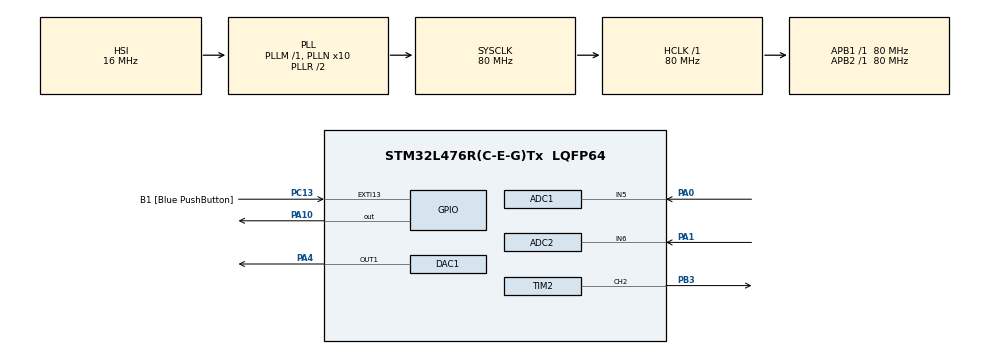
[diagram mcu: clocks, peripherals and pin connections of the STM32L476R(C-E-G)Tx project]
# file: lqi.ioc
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ADC1.Channel-0\#ChannelRegularConversion=ADC_CHANNEL_5
ADC1.ContinuousConvMode=ENABLE
ADC1.DMAContinuousRequests=ENABLE
ADC1.NbrOfConversionFlag=1
ADC1.OffsetNumber-0\#ChannelRegularConversion=ADC_OFFSET_NONE
ADC1.Rank-0\#ChannelRegularConversion=1
ADC1.SamplingTime-0\#ChannelRegularConversion=ADC_SAMPLETIME_92CYCLES_5
ADC1.master=1
ADC2.Channel-0\#ChannelRegularConversion=ADC_CHANNEL_6
ADC2.ContinuousConvMode=ENABLE
ADC2.DMAContinuousRequests=ENABLE
ADC2.NbrOfConversionFlag=1
ADC2.OffsetNumber-0\#ChannelRegularConversion=ADC_OFFSET_NONE
ADC2.Rank-0\#ChannelRegularConversion=1
ADC2.SamplingTime-0\#ChannelRegularConversion=ADC_SAMPLETIME_92CYCLES_5
Dma.ADC1.0.Direction=DMA_PERIPH_TO_MEMORY
Dma.ADC1.0.Instance=DMA1_Channel1
Dma.ADC1.0.MemDataAlignment=DMA_MDATAALIGN_HALFWORD
Dma.ADC1.0.MemInc=DMA_MINC_ENABLE
Dma.ADC1.0.Mode=DMA_CIRCULAR
Dma.ADC1.0.PeriphDataAlignment=DMA_PDATAALIGN_HALFWORD
Dma.ADC1.0.PeriphInc=DMA_PINC_DISABLE
Dma.ADC1.0.Priority=DMA_PRIORITY_LOW
Dma.ADC2.1.Direction=DMA_PERIPH_TO_MEMORY
Dma.ADC2.1.Instance=DMA1_Channel2
Dma.ADC2.1.MemDataAlignment=DMA_MDATAALIGN_HALFWORD
Dma.ADC2.1.MemInc=DMA_MINC_ENABLE
Dma.ADC2.1.Mode=DMA_CIRCULAR
Dma.ADC2.1.PeriphDataAlignment=DMA_PDATAALIGN_HALFWORD
Dma.ADC2.1.PeriphInc=DMA_PINC_DISABLE
Dma.ADC2.1.Priority=DMA_PRIORITY_LOW
Dma.Request0=ADC1
Dma.Request1=ADC2
Mcu.Family=STM32L4
Mcu.Name=STM32L476R(C-E-G)Tx
Mcu.Package=LQFP64
NVIC.DMA1_Channel1_IRQn=true\:0\:0\:false\:false\:true\:false\:true
NVIC.DMA1_Channel2_IRQn=true\:0\:0\:false\:false\:true\:false\:true
NVIC.PriorityGroup=NVIC_PRIORITYGROUP_4
NVIC.TIM3_IRQn=true\:0\:0\:false\:false\:true\:true\:true
PA0.Signal=ADCx_IN5
PA1.Signal=ADCx_IN6
PA10.Signal=GPIO_Output
PA13\ (JTMS-SWDIO).GPIO_Label=TMS
PA13\ (JTMS-SWDIO).Mode=Serial_Wire
PA13\ (JTMS-SWDIO).Signal=SYS_JTMS-SWDIO
PA14\ (JTCK-SWCLK).GPIO_Label=TCK
PA14\ (JTCK-SWCLK).Mode=Serial_Wire
PA14\ (JTCK-SWCLK).Signal=SYS_JTCK-SWCLK
PA4.Signal=COMP_DAC11_group
PB3\ (JTDO-TRACESWO).Signal=S_TIM2_CH2
PC13.GPIO_Label=B1 [Blue PushButton]
PC13.GPIO_ModeDefaultEXTI=GPIO_MODE_IT_FALLING
PC13.GPIO_PuPd=GPIO_NOPULL
PC13.Signal=GPXTI13
PC14-OSC32_IN\ (PC14).Mode=LSE-External-Oscillator
PC14-OSC32_IN\ (PC14).Signal=RCC_OSC32_IN
PC15-OSC32_OUT\ (PC15).Mode=LSE-External-Oscillator
PC15-OSC32_OUT\ (PC15).Signal=RCC_OSC32_OUT
PH0-OSC_IN\ (PH0).Signal=RCC_OSC_IN
PH1-OSC_OUT\ (PH1).Signal=RCC_OSC_OUT
ProjectManager.HeapSize=0x200
ProjectManager.StackSize=0x400
ProjectManager.TargetToolchain=STM32CubeIDE
RCC.ADCFreq_Value=64000000
RCC.AHBFreq_Value=80000000
RCC.APB1Freq_Value=80000000
RCC.APB1TimFreq_Value=80000000
RCC.APB2Freq_Value=80000000
RCC.APB2TimFreq_Value=80000000
RCC.CortexFreq_Value=80000000
RCC.HCLKFreq_Value=80000000
RCC.HSE_VALUE=8000000
RCC.HSI_VALUE=16000000
RCC.MSI_VALUE=4000000
RCC.PLLN=10
RCC.PLLSourceVirtual=RCC_PLLSOURCE_HSI
RCC.PREFETCH_ENABLE=1
RCC.SYSCLKFreq_VALUE=80000000
RCC.SYSCLKSource=RCC_SYSCLKSOURCE_PLLCLK
RCC.USBFreq_Value=64000000
RCC.VCOOutputFreq_Value=160000000
SH.ADCx_IN5.0=ADC1_IN5,IN5-Single-Ended
SH.ADCx_IN6.0=ADC2_IN6,IN6-Single-Ended
SH.COMP_DAC11_group.0=DAC1_OUT1,DAC_OUT1
SH.S_TIM2_CH2.0=TIM2_CH2,PWM Generation2 CH2
TIM2.Channel-PWM\ Generation2\ CH2=TIM_CHANNEL_2
TIM2.Period=4000-1
TIM3.Period=100-1
TIM3.Prescaler=80-1
VP_TIM3_VS_ClockSourceINT.Mode=Internal
board=NUCLEO-L476RG

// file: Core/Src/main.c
/* USER CODE BEGIN Header */
/**
  ******************************************************************************
  * @file           : main.c
  * @brief          : Main program body
  ******************************************************************************
  * @attention
  *
  * <h2><center>&copy; Copyright (c) 2020 STMicroelectronics.
  * All rights reserved.</center></h2>
  *
  * This software component is licensed by ST under BSD 3-Clause license,
  * the "License"; You may not use this file except in compliance with the
  * License. You may obtain a copy of the License at:
  *                        opensource.org/licenses/BSD-3-Clause
  *
  ******************************************************************************
  */
/* USER CODE END Header */

#include "main.h"

/* USER CODE BEGIN Includes */
#include <string.h>
#include <stdio.h>
#include <stdbool.h>
/* USER CODE END Includes */

/* USER CODE BEGIN PD */
#define SIZE 7        // ADC buffer size
#define COUNTER_PERIOD 3999  // PWM signal counter period
/* USER CODE END PD */

ADC_HandleTypeDef hadc1;
ADC_HandleTypeDef hadc2;
DMA_HandleTypeDef hdma_adc1;
DMA_HandleTypeDef hdma_adc2;

DAC_HandleTypeDef hdac1;

TIM_HandleTypeDef htim2;
TIM_HandleTypeDef htim3;

/* USER CODE BEGIN PV */
int u = 0;            // Input * 1000
const int xs0 = 50;   // Steady state current * 1000
const int xs1 = 5000; // Steady state voltage * 1000
const int us = 337900; // SZeady state input * 1000000
uint16_t iter = 0;  // Sampling step counter for an intial startup delay of 1ms
int x[2] = {0,0};   // State vector
int y[2] = {0,0};   // Sensor measurements vector
int x_est[2] = {0,0};  // Model state estimate
int64_t integral = 0;  // Integral buffer
bool settled = false;  // Indicates whether the system is settled
uint8_t settling_iter = 0;  //  Number of iterations in a row where |x[k+1]-x[k]|<epsilon
int K[2] = {4305,86};  // LQR Feedback gain matrix

uint16_t adc_buf0[SIZE];  // ADC buffer for the current
uint16_t adc_buf1[SIZE];  // ADC buffer for the voltage
/* USER CODE END PV */

void SystemClock_Config(void);
static void MX_GPIO_Init(void);
static void MX_DMA_Init(void);
static void MX_ADC1_Init(void);
static void MX_ADC2_Init(void);
static void MX_DAC1_Init(void);
static void MX_TIM2_Init(void);
static void MX_TIM3_Init(void);

/* USER CODE BEGIN 0 */
//  Begin code from https://www.geeksforgeeks.org/quick-sort/
/* Functions of the quick sort algorithm.
 * Once the values have been sorted the median value is returned */
void swap(int* a, int* b)
{
	int t = *a;
    *a = *b;
    *b = t;
}

int partition (int arr[], int low, int high)
{
	int pivot = arr[high];    // pivot
	int i = (low - 1);  // Index of smaller element

    for (int j = low; j <= high- 1; j++)
    {
        // If current element is smaller than the pivot
        if (arr[j] < pivot)
        {
            i++;    // increment index of smaller element
            swap(&arr[i], &arr[j]);
        }
    }
    swap(&arr[i + 1], &arr[high]);
    return (i + 1);
}

void quickSort(int arr[], int low, int high)
{
    if (low < high)
    {
        /* pi is partitioning index, arr[p] is now
           at right place */
    	int pi = partition(arr, low, high);

        // Separately sort elements before
        // partition and after partition
        quickSort(arr, low, pi - 1);
        quickSort(arr, pi + 1, high);
    }
}

int get_median(int *values){
	int n = sizeof(values)/sizeof(values[0]);
    quickSort(values, 0, n-1);
    return values[SIZE/2];
}
// End code from https://www.geeksforgeeks.org/quick-sort/

// Interruption routine 10kHz
void HAL_TIM_PeriodElapsedCallback(TIM_HandleTypeDef *htim)
{
	if (htim->Instance == htim3.Instance)
    {
		// Delay before the controller starts operating
		if(iter < 10000){
			iter++;
		}
		else{
			// Begin timing
			//HAL_GPIO_WritePin(GPIOA,GPIO_PIN_10,GPIO_PIN_SET);

			// Copy the values of the ADC buffers in arrays
			int value0[SIZE];
			int value1[SIZE];
			for(uint8_t i = 0; i<SIZE; i++){
				value0[i] = (int)adc_buf0[i];
				value1[i] = (int)adc_buf1[i];
			}

			// Inductor current sampling
			y[0] = get_median(value0);   y[0] *= 1075;  y[0] /= 10000;

			// Output voltage sampling
			y[1] = get_median(value1);   y[1] *= 28900; y[1] /= 10000;

			// State estimate using the model
			int x0_prev = x[0];
			int x1_prev = x[1];
			x_est[0] = 97136*x0_prev - 978*x1_prev + 14878*u;    x_est[0] /= 100000;
			x_est[1] = 173187*x0_prev + 97046*x1_prev + 18083*u; x_est[1] /= 100000;

			// Combination measurements + model
			int alpha = 500;         // Measurement contibution = 50 %, Model contribution = 50 %
			int alpha_bar = 1000-alpha;
			x[0] = alpha*y[0] + alpha_bar*x_est[0]; x[0] /= 1000;
			x[1] = alpha*y[1] + alpha_bar*x_est[1]; x[1] /= 1000;

			// Shift the state to the new origin (steady state values)
			int dx0 = x[0] - xs0;
			int dx1 = x[1] - xs1;

			// Input
			u = -K[0]*dx0 - K[1]*dx1;

			// If not settled : Integrator disabled
			if(!settled){
				int diff = x[1]-x1_prev;          // difference between 2 consecutive samples
				if(diff > -100 && diff < 100){    // If |diff| < 100 mV increment counter
					settling_iter++;
					if(settling_iter == 100){     // If counter = 100 system settled
						settled = true;
					}
				}
				else{
					settling_iter = 0;          // If |diff| > 100 mV reset counter
				}
			}
			else{                        // Increment the integral and modify the input
				int error = 5000-y[1];
				integral += error;
				u += 10*integral;
			}

			// Add the steady state input
			u += us;  u /= 1000;

			// Update PWM timer counter
			int input = u*COUNTER_PERIOD/1000;

			// Saturation
			if(input < 0) input = 0;
			if(input > COUNTER_PERIOD) input = COUNTER_PERIOD;

			// Duty cycle command
			htim2.Instance->CCR2 = input;

			// Duty cycle DAC output
			//HAL_DAC_SetValue(&hdac1, DAC_CHANNEL_1, DAC_ALIGN_12B_R, input*4095/13197);
		}
	}
	// End timing
	//HAL_GPIO_WritePin(GPIOA,GPIO_PIN_10,GPIO_PIN_RESET);
}
/* USER CODE END 0 */

int main(void)
{

  /* MCU Configuration--------------------------------------------------------*/

  /* Reset of all peripherals, Initializes the Flash interface and the Systick. */
  HAL_Init();

  /* Configure the system clock */
  SystemClock_Config();

  /* Initialize all configured peripherals */
  MX_GPIO_Init();
  MX_DMA_Init();
  MX_ADC1_Init();
  MX_ADC2_Init();
  MX_DAC1_Init();
  MX_TIM2_Init();
  MX_TIM3_Init();
  /* USER CODE BEGIN 2 */
  // Peripherals intialization
  HAL_DAC_Start(&hdac1, DAC_CHANNEL_1);
  HAL_DAC_Start(&hdac1, DAC_CHANNEL_2);
  HAL_ADC_Start_DMA(&hadc2, (uint32_t*)adc_buf0, SIZE);
  HAL_ADC_Start_DMA(&hadc1, (uint32_t*)adc_buf1, SIZE);
  HAL_TIM_Base_Start_IT(&htim3);
  HAL_TIM_PWM_Start(&htim2, TIM_CHANNEL_2);
  htim2.Instance->CCR2 = 0;  // Initial duty cycle = 0
  /* USER CODE END 2 */

  /* Infinite loop */
  while (1)
  {

  }
}

void SystemClock_Config(void)
{
  RCC_OscInitTypeDef RCC_OscInitStruct = {0};
  RCC_ClkInitTypeDef RCC_ClkInitStruct = {0};
  RCC_PeriphCLKInitTypeDef PeriphClkInit = {0};

  /** Initializes the CPU, AHB and APB busses clocks
  */
  RCC_OscInitStruct.OscillatorType = RCC_OSCILLATORTYPE_HSI;
  RCC_OscInitStruct.HSIState = RCC_HSI_ON;
  RCC_OscInitStruct.HSICalibrationValue = RCC_HSICALIBRATION_DEFAULT;
  RCC_OscInitStruct.PLL.PLLState = RCC_PLL_ON;
  RCC_OscInitStruct.PLL.PLLSource = RCC_PLLSOURCE_HSI;
  RCC_OscInitStruct.PLL.PLLM = 1;
  RCC_OscInitStruct.PLL.PLLN = 10;
  RCC_OscInitStruct.PLL.PLLP = RCC_PLLP_DIV7;
  RCC_OscInitStruct.PLL.PLLQ = RCC_PLLQ_DIV2;
  RCC_OscInitStruct.PLL.PLLR = RCC_PLLR_DIV2;
  if (HAL_RCC_OscConfig(&RCC_OscInitStruct) != HAL_OK)
  {
    Error_Handler();
  }
  /** Initializes the CPU, AHB and APB busses clocks
  */
  RCC_ClkInitStruct.ClockType = RCC_CLOCKTYPE_HCLK|RCC_CLOCKTYPE_SYSCLK
                              |RCC_CLOCKTYPE_PCLK1|RCC_CLOCKTYPE_PCLK2;
  RCC_ClkInitStruct.SYSCLKSource = RCC_SYSCLKSOURCE_PLLCLK;
  RCC_ClkInitStruct.AHBCLKDivider = RCC_SYSCLK_DIV1;
  RCC_ClkInitStruct.APB1CLKDivider = RCC_HCLK_DIV1;
  RCC_ClkInitStruct.APB2CLKDivider = RCC_HCLK_DIV1;

  if (HAL_RCC_ClockConfig(&RCC_ClkInitStruct, FLASH_LATENCY_4) != HAL_OK)
  {
    Error_Handler();
  }
  PeriphClkInit.PeriphClockSelection = RCC_PERIPHCLK_ADC;
  PeriphClkInit.AdcClockSelection = RCC_ADCCLKSOURCE_PLLSAI1;
  PeriphClkInit.PLLSAI1.PLLSAI1Source = RCC_PLLSOURCE_HSI;
  PeriphClkInit.PLLSAI1.PLLSAI1M = 1;
  PeriphClkInit.PLLSAI1.PLLSAI1N = 8;
  PeriphClkInit.PLLSAI1.PLLSAI1P = RCC_PLLP_DIV7;
  PeriphClkInit.PLLSAI1.PLLSAI1Q = RCC_PLLQ_DIV2;
  PeriphClkInit.PLLSAI1.PLLSAI1R = RCC_PLLR_DIV2;
  PeriphClkInit.PLLSAI1.PLLSAI1ClockOut = RCC_PLLSAI1_ADC1CLK;
  if (HAL_RCCEx_PeriphCLKConfig(&PeriphClkInit) != HAL_OK)
  {
    Error_Handler();
  }
  /** Configure the main internal regulator output voltage
  */
  if (HAL_PWREx_ControlVoltageScaling(PWR_REGULATOR_VOLTAGE_SCALE1) != HAL_OK)
  {
    Error_Handler();
  }
}

static void MX_ADC1_Init(void)
{

  ADC_MultiModeTypeDef multimode = {0};
  ADC_ChannelConfTypeDef sConfig = {0};

  /** Common config
  */
  hadc1.Instance = ADC1;
  hadc1.Init.ClockPrescaler = ADC_CLOCK_ASYNC_DIV1;
  hadc1.Init.Resolution = ADC_RESOLUTION_12B;
  hadc1.Init.DataAlign = ADC_DATAALIGN_RIGHT;
  hadc1.Init.ScanConvMode = ADC_SCAN_DISABLE;
  hadc1.Init.EOCSelection = ADC_EOC_SINGLE_CONV;
  hadc1.Init.LowPowerAutoWait = DISABLE;
  hadc1.Init.ContinuousConvMode = ENABLE;
  hadc1.Init.NbrOfConversion = 1;
  hadc1.Init.DiscontinuousConvMode = DISABLE;
  hadc1.Init.NbrOfDiscConversion = 1;
  hadc1.Init.ExternalTrigConv = ADC_SOFTWARE_START;
  hadc1.Init.ExternalTrigConvEdge = ADC_EXTERNALTRIGCONVEDGE_NONE;
  hadc1.Init.DMAContinuousRequests = ENABLE;
  hadc1.Init.Overrun = ADC_OVR_DATA_PRESERVED;
  hadc1.Init.OversamplingMode = DISABLE;
  if (HAL_ADC_Init(&hadc1) != HAL_OK)
  {
    Error_Handler();
  }
  /** Configure the ADC multi-mode
  */
  multimode.Mode = ADC_MODE_INDEPENDENT;
  if (HAL_ADCEx_MultiModeConfigChannel(&hadc1, &multimode) != HAL_OK)
  {
    Error_Handler();
  }
  /** Configure Regular Channel
  */
  sConfig.Channel = ADC_CHANNEL_5;
  sConfig.Rank = ADC_REGULAR_RANK_1;
  sConfig.SamplingTime = ADC_SAMPLETIME_92CYCLES_5;
  sConfig.SingleDiff = ADC_SINGLE_ENDED;
  sConfig.OffsetNumber = ADC_OFFSET_NONE;
  sConfig.Offset = 0;
  if (HAL_ADC_ConfigChannel(&hadc1, &sConfig) != HAL_OK)
  {
    Error_Handler();
  }

}

static void MX_ADC2_Init(void)
{

  ADC_ChannelConfTypeDef sConfig = {0};

  /** Common config
  */
  hadc2.Instance = ADC2;
  hadc2.Init.ClockPrescaler = ADC_CLOCK_ASYNC_DIV1;
  hadc2.Init.Resolution = ADC_RESOLUTION_12B;
  hadc2.Init.DataAlign = ADC_DATAALIGN_RIGHT;
  hadc2.Init.ScanConvMode = ADC_SCAN_DISABLE;
  hadc2.Init.EOCSelection = ADC_EOC_SINGLE_CONV;
  hadc2.Init.LowPowerAutoWait = DISABLE;
  hadc2.Init.ContinuousConvMode = ENABLE;
  hadc2.Init.NbrOfConversion = 1;
  hadc2.Init.DiscontinuousConvMode = DISABLE;
  hadc2.Init.NbrOfDiscConversion = 1;
  hadc2.Init.ExternalTrigConv = ADC_SOFTWARE_START;
  hadc2.Init.ExternalTrigConvEdge = ADC_EXTERNALTRIGCONVEDGE_NONE;
  hadc2.Init.DMAContinuousRequests = ENABLE;
  hadc2.Init.Overrun = ADC_OVR_DATA_PRESERVED;
  hadc2.Init.OversamplingMode = DISABLE;
  if (HAL_ADC_Init(&hadc2) != HAL_OK)
  {
    Error_Handler();
  }
  /** Configure Regular Channel
  */
  sConfig.Channel = ADC_CHANNEL_6;
  sConfig.Rank = ADC_REGULAR_RANK_1;
  sConfig.SamplingTime = ADC_SAMPLETIME_92CYCLES_5;
  sConfig.SingleDiff = ADC_SINGLE_ENDED;
  sConfig.OffsetNumber = ADC_OFFSET_NONE;
  sConfig.Offset = 0;
  if (HAL_ADC_ConfigChannel(&hadc2, &sConfig) != HAL_OK)
  {
    Error_Handler();
  }

}

static void MX_DAC1_Init(void)
{

  DAC_ChannelConfTypeDef sConfig = {0};

  /** DAC Initialization
  */
  hdac1.Instance = DAC1;
  if (HAL_DAC_Init(&hdac1) != HAL_OK)
  {
    Error_Handler();
  }
  /** DAC channel OUT1 config
  */
  sConfig.DAC_SampleAndHold = DAC_SAMPLEANDHOLD_DISABLE;
  sConfig.DAC_Trigger = DAC_TRIGGER_NONE;
  sConfig.DAC_OutputBuffer = DAC_OUTPUTBUFFER_ENABLE;
  sConfig.DAC_ConnectOnChipPeripheral = DAC_CHIPCONNECT_DISABLE;
  sConfig.DAC_UserTrimming = DAC_TRIMMING_FACTORY;
  if (HAL_DAC_ConfigChannel(&hdac1, &sConfig, DAC_CHANNEL_1) != HAL_OK)
  {
    Error_Handler();
  }

}

static void MX_TIM2_Init(void)
{

  TIM_MasterConfigTypeDef sMasterConfig = {0};
  TIM_OC_InitTypeDef sConfigOC = {0};

  htim2.Instance = TIM2;
  htim2.Init.Prescaler = 0;
  htim2.Init.CounterMode = TIM_COUNTERMODE_UP;
  htim2.Init.Period = 4000-1;
  htim2.Init.ClockDivision = TIM_CLOCKDIVISION_DIV1;
  htim2.Init.AutoReloadPreload = TIM_AUTORELOAD_PRELOAD_DISABLE;
  if (HAL_TIM_PWM_Init(&htim2) != HAL_OK)
  {
    Error_Handler();
  }
  sMasterConfig.MasterOutputTrigger = TIM_TRGO_RESET;
  sMasterConfig.MasterSlaveMode = TIM_MASTERSLAVEMODE_DISABLE;
  if (HAL_TIMEx_MasterConfigSynchronization(&htim2, &sMasterConfig) != HAL_OK)
  {
    Error_Handler();
  }
  sConfigOC.OCMode = TIM_OCMODE_PWM1;
  sConfigOC.Pulse = 0;
  sConfigOC.OCPolarity = TIM_OCPOLARITY_HIGH;
  sConfigOC.OCFastMode = TIM_OCFAST_DISABLE;
  if (HAL_TIM_PWM_ConfigChannel(&htim2, &sConfigOC, TIM_CHANNEL_2) != HAL_OK)
  {
    Error_Handler();
  }
  HAL_TIM_MspPostInit(&htim2);

}

static void MX_TIM3_Init(void)
{

  TIM_ClockConfigTypeDef sClockSourceConfig = {0};
  TIM_MasterConfigTypeDef sMasterConfig = {0};

  htim3.Instance = TIM3;
  htim3.Init.Prescaler = 80-1;
  htim3.Init.CounterMode = TIM_COUNTERMODE_UP;
  htim3.Init.Period = 100-1;
  htim3.Init.ClockDivision = TIM_CLOCKDIVISION_DIV1;
  htim3.Init.AutoReloadPreload = TIM_AUTORELOAD_PRELOAD_DISABLE;
  if (HAL_TIM_Base_Init(&htim3) != HAL_OK)
  {
    Error_Handler();
  }
  sClockSourceConfig.ClockSource = TIM_CLOCKSOURCE_INTERNAL;
  if (HAL_TIM_ConfigClockSource(&htim3, &sClockSourceConfig) != HAL_OK)
  {
    Error_Handler();
  }
  sMasterConfig.MasterOutputTrigger = TIM_TRGO_RESET;
  sMasterConfig.MasterSlaveMode = TIM_MASTERSLAVEMODE_DISABLE;
  if (HAL_TIMEx_MasterConfigSynchronization(&htim3, &sMasterConfig) != HAL_OK)
  {
    Error_Handler();
  }

}

static void MX_DMA_Init(void)
{

  /* DMA controller clock enable */
  __HAL_RCC_DMA1_CLK_ENABLE();

  /* DMA interrupt init */
  /* DMA1_Channel1_IRQn interrupt configuration */
  HAL_NVIC_SetPriority(DMA1_Channel1_IRQn, 0, 0);
  HAL_NVIC_EnableIRQ(DMA1_Channel1_IRQn);
  /* DMA1_Channel2_IRQn interrupt configuration */
  HAL_NVIC_SetPriority(DMA1_Channel2_IRQn, 0, 0);
  HAL_NVIC_EnableIRQ(DMA1_Channel2_IRQn);

}

static void MX_GPIO_Init(void)
{
  GPIO_InitTypeDef GPIO_InitStruct = {0};

  /* GPIO Ports Clock Enable */
  __HAL_RCC_GPIOC_CLK_ENABLE();
  __HAL_RCC_GPIOH_CLK_ENABLE();
  __HAL_RCC_GPIOA_CLK_ENABLE();
  __HAL_RCC_GPIOB_CLK_ENABLE();

  /*Configure GPIO pin Output Level */
  HAL_GPIO_WritePin(GPIOA, GPIO_PIN_10, GPIO_PIN_RESET);

  /*Configure GPIO pin : B1_Pin */
  GPIO_InitStruct.Pin = B1_Pin;
  GPIO_InitStruct.Mode = GPIO_MODE_IT_FALLING;
  GPIO_InitStruct.Pull = GPIO_NOPULL;
  HAL_GPIO_Init(B1_GPIO_Port, &GPIO_InitStruct);

  /*Configure GPIO pin : PA10 */
  GPIO_InitStruct.Pin = GPIO_PIN_10;
  GPIO_InitStruct.Mode = GPIO_MODE_OUTPUT_PP;
  GPIO_InitStruct.Pull = GPIO_NOPULL;
  GPIO_InitStruct.Speed = GPIO_SPEED_FREQ_LOW;
  HAL_GPIO_Init(GPIOA, &GPIO_InitStruct);

}

void Error_Handler(void)
{
}

/************************ (C) COPYRIGHT STMicroelectronics *****END OF FILE****/
